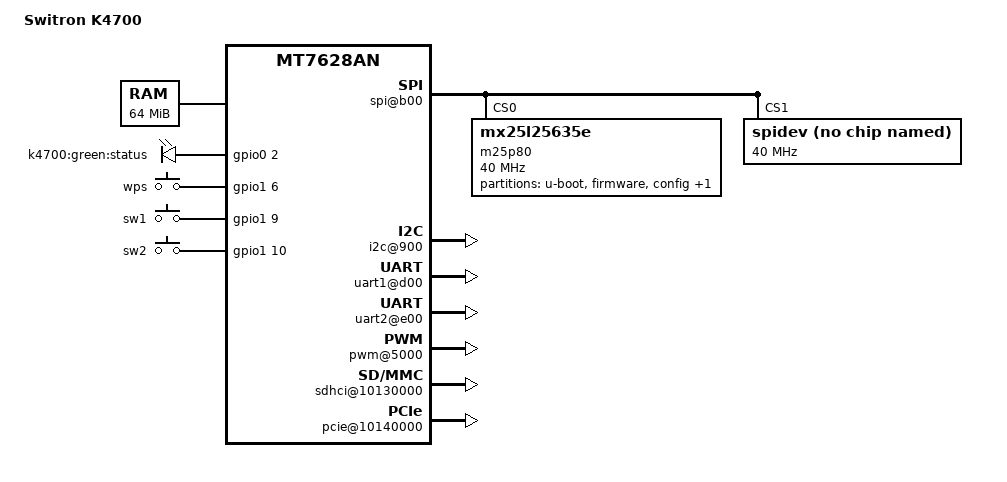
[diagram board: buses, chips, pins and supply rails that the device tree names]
/dts-v1/;

/include/ "mt7628an.dtsi"

/ {
	compatible = "mediatek,k4700", "mediatek,mt7628an-soc";
	model = "Switron K4700";

	chosen {
		bootargs = "console=ttyS0,115200";
	};

	memory@0 {
		device_type = "memory";
		reg = <0x0 0x4000000>;
	};

	pinctrl {
		state_default: pinctrl0 {
			gpio {
				ralink,group = "gpio";
				ralink,function = "gpio";
			};
			perst {
				ralink,group = "perst";
				ralink,function = "gpio";
			};
			refclk {
				ralink,group = "refclk";
				ralink,function = "gpio";
			};
			i2s {
				ralink,group = "i2s";
				ralink,function = "gpio";
			};
			spis {
				ralink,group = "spis";
				ralink,function = "gpio";
			};
			wled_kn {
				ralink,group = "wled_kn";
				ralink,function = "gpio";
			};
			wled_an {
				ralink,group = "wled_an";
				ralink,function = "wled_an";
			};
			wdt {
				ralink,group = "wdt";
				ralink,function = "gpio";
			};
		};
	};

	palmbus@10000000 {
		spi@b00 {
			status = "okay";

			pinctrl-names = "default";
			pinctrl-0 = <&spi_pins>, <&spi_cs1_pins>;

			m25p80@0 {
				#address-cells = <1>;
				#size-cells = <1>;
				compatible = "mx25l25635e";
				reg = <0 0>;
				linux,modalias = "m25p80", "mx25l25635e";
				spi-max-frequency = <40000000>;
				m25p,chunked-io = <31>;

				partition@0 {
					label = "u-boot";
					reg = <0x0 0x20000>;
					read-only;
				};

				partition@20000 {
					label = "firmware";
					reg = <0x20000 0x7a0000>;
				};

				partition@7c0000 {
					label = "config";
					reg = <0x7c0000 0x10000>;
					read-only;
				};

				factory: partition@7d0000 {
					label = "factory";
					reg = <0x7d0000 0x30000>;
					read-only;
				};
			};

			spidev@1 {
				#address-cells = <1>;
				#size-cells = <1>;
				compatible = "spidev";
				reg = <1 0>;
				spi-max-frequency = <40000000>;
			};
		};

		i2c@900 {
			status = "okay";
		};

		uart1@d00 {
			status = "okay";
		};

		uart2@e00 {
			status = "okay";
		};

		pwm@5000 {
			status = "okay";
		};
	};

	ethernet@10100000 {
		mtd-mac-address = <&factory 0x28>;
	};

	sdhci@10130000 {
		status = "okay";
		mediatek,cd-high;
//		mediatek,cd-poll;
	};

	bootstrap {
		compatible = "mediatek,k4700";

		status = "okay";
	};

	gpio-leds {
		compatible = "gpio-leds";
		status {
			label = "k4700:green:status";
			gpios = <&gpio0 2 0>;
			default-state = "on";
		};
//		wifi {
//			label = "mediatek:orange:wifi";
//			gpios = <&wgpio 0 0>;
//			default-state = "on";
//		};
//		status {
//			label = "k4700:green:status";
//			gpios = <&gpio0 31 0>;
//			default-state = "on";
//		};
//		usb {
//			label = "k4700:green:usb";
//			gpios = <&gpio0 21 0>;
//			default-state = "on";
//		};
	};


//	gpio-export {
//		compatible = "gpio-export";
//		#size-cells = <0>;
//		gpio1 {
//			gpio-export,name = "gpio1";
//			#gpio-export,direction_may_change = <1>;
//			gpio-export,output = <1>;
//			gpios = <&gpio0 1 0>;
//		};
//		gpio11 {
//			gpio-export,name = "gpio11";
//			#gpio-export,direction_may_change = <1>;
//			gpio-export,output = <1>;
//			gpios = <&gpio0 11 0>;
//		};
//	};


	gpio-keys-polled {
		compatible = "gpio-keys-polled";
		#address-cells = <1>;
		#size-cells = <0>;
		poll-interval = <20>;
		wps {
			label = "wps";
			gpios = <&gpio1 6 0>;
			linux,code = <0x198>;
		};
		modec1 {
			label = "sw1";
			gpios = <&gpio1 9 0>;
			linux,code = <0x198>;
		};
		modec2 {
			label = "sw2";
			gpios = <&gpio1 10 0>;
			linux,code = <0x198>;
		};
//		reset {
//			label = "reset";
//			gpios = <&gpio0 2 1>;
//			linux,code = <0x198>;
//		};
	};


	wgpio: gpio-wifi {
		#address-cells = <1>;
		#size-cells = <0>;

		compatible = "mediatek,gpio-wifi";
		gpio-controller;
		#gpio-cells = <2>;
	};

	wmac@10180000 {
		ralink,mtd-eeprom = <&factory 0>;
		#ralink,mtd-eeprom = <&factory 0x20000>;
	};

	pcie@10140000 {
		status = "okay";
		pcie-bridge {
			mt76@0,0 {
				reg = <0x0000 0 0 0 0>;
				device_type = "pci";
				mediatek,mtd-eeprom = <&factory 0x8000>;
				mediatek,2ghz = <0>;
			};
		};
	};


};

